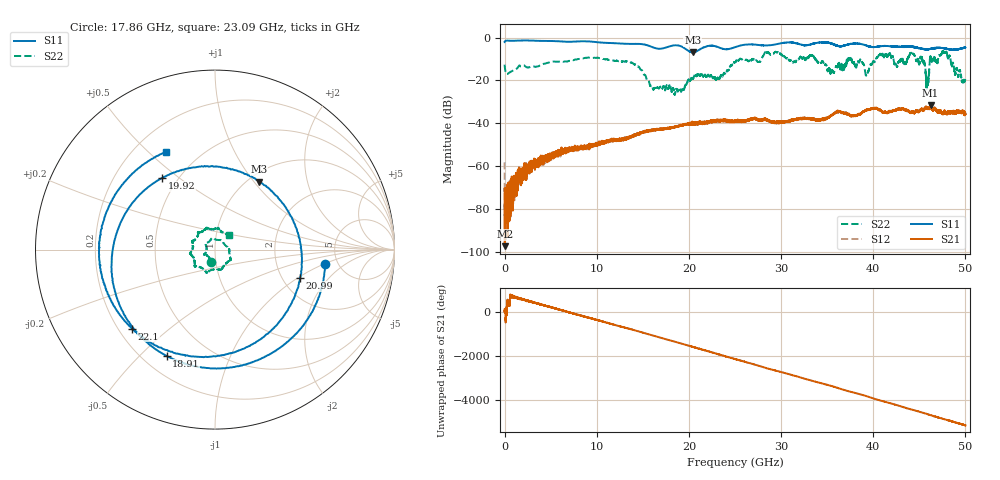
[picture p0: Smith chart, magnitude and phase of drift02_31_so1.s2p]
!Created with skrf (http://scikit-rf.org).
# Hz S RI R 50.0
!freq ReS11 ImS11 ReS21 ImS21 ReS12 ImS12 ReS22 ImS22
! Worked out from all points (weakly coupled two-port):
!   10001 points, 300 kHz to 50 GHz, reference 50 ohm
!   highest |S21| = -31.55 dB at 46.22 GHz (marker M1); lowest = -97.4 dB at 20.3 MHz (marker M2)
!   lowest |S11| = -6.9 dB at 20.42 GHz (marker M3), VSWR 2.64, Z = 55.9 + j53.1 ohm
!   |S11| at or under -10 dB: nowhere
!   |S22| runs from -26.7 to -6.3 dB; largest |S21 - S12| = 0.0031
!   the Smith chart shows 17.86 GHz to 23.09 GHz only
!   S11 on the Smith chart (normalised r, x): 17.86 GHz: 3.97, -1.04; 18.91 GHz: 0.29, -0.60; 19.92 GHz: 0.41, +0.43; 20.99 GHz: 2.49, -1.05; 22.1 GHz: 0.25, -0.38; 23.09 GHz: 0.33, +0.57
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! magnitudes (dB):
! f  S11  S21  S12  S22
! 300 kHz  -2.1  -71.6  -58.2  -12.6
! 20.3 MHz  -1.9  -97.4  -83.5  -13.7
! 270.3 MHz  -1.4  -72.7  -73.0  -17.0
! 2.955 GHz  -1.4  -59.4  -60.7  -13.5
! 8.335 GHz  -1.7  -51.7  -51.6  -9.7
! 13.71 GHz  -2.9  -46.5  -46.3  -11.7
! 16.67 GHz  -5.2  -42.9  -42.7  -23.6
! 17.86 GHz  -4.2  -42.3  -42.3  -22.8
! 18.91 GHz  -3.7  -41.3  -41.4  -24.0
! 19.92 GHz  -6.1  -40.3  -40.3  -19.9
! 20.42 GHz  -6.9  -40.3  -40.5  -19.2
! 20.99 GHz  -6.0  -39.6  -40.0  -16.8
! 22.1 GHz  -3.9  -39.3  -39.5  -17.5
! 23.09 GHz  -4.3  -38.7  -38.7  -18.9
! 25 GHz  -4.5  -38.7  -39.0  -11.5
! 33.34 GHz  -3.0  -37.9  -37.9  -8.3
! 39.32 GHz  -3.8  -33.7  -33.8  -17.1
! 41.67 GHz  -4.0  -34.5  -34.7  -7.7
! 45.85 GHz  -5.5  -32.9  -32.9  -19.6
! 46.22 GHz  -5.2  -31.5  -32.0  -9.5
! 47.76 GHz  -5.0  -34.4  -34.9  -6.8
! 50 GHz  -4.7  -35.7  -36.0  -19.0
